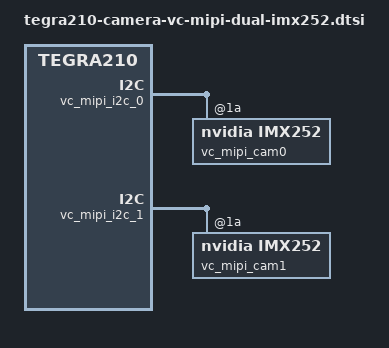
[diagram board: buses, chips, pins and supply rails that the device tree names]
/*
 * Copyright (c) 2018-2019, NVIDIA CORPORATION.  All rights reserved.
 *
 * This program is free software; you can redistribute it and/or modify
 * it under the terms of the GNU General Public License as published by
 * the Free Software Foundation; either version 2 of the License, or
 * (at your option) any later version.
 *
 * This program is distributed in the hope that it will be useful, but WITHOUT
 * ANY WARRANTY; without even the implied warranty of MERCHANTABILITY or
 * FITNESS FOR A PARTICULAR PURPOSE.  See the GNU General Public License for
 * more details.
 *
 * You should have received a copy of the GNU General Public License
 * along with this program.  If not, see <http://www.gnu.org/licenses/>.
 */

#define VC_MIPI_LANES 4
 
#include "tegra210-camera-vc-mipi-dual-common.dtsi"
 
/ {
    host1x {
         vc_mipi_i2c_0: i2c@546c0000 {
            vc_mipi_cam0: vc_mipi@1a {
                compatible = "nvidia,imx252";              
                physical_w = "7.066";
                physical_h = "5.299"; 
                sensor_model = "imx252";
                flash-output = "0";
 
                mode0 { 
                    active_w                 = "2048";
                    active_h                 = "1536";
                    line_length              = "2048";
                    pixel_t                  = "bayer_rggb10";
                     
                    gain_factor              = "1";
                    min_gain_val             = "0";
                    max_gain_val             = "1957";
                    step_gain_val            = "1";
                    default_gain             = "16";

                    exposure_factor          = "1";
                    min_exp_time             = "160";
                    max_exp_time             = "10000000";
                    step_exp_time            = "1";
                    default_exp_time         = "10000";

                    framerate_factor         = "1";
                    min_framerate            = "10";
                    max_framerate            = "60";
                    step_framerate           = "1";
                    default_framerate        = "60";
                };
            };
        };

        vc_mipi_i2c_1: i2c@7000c000 {
            vc_mipi_cam1: vc_mipi@1a {
                compatible = "nvidia,imx252";
                physical_w = "7.066";
                physical_h = "5.299";
                sensor_model = "imx252";
                flash-output = "0";
                
                mode0 { 
                    active_w                 = "2048";
                    active_h                 = "1536";
                    line_length              = "2048";
                    pixel_t                  = "bayer_rggb10";
                     
                    gain_factor              = "1";
                    min_gain_val             = "0";
                    max_gain_val             = "1957";
                    step_gain_val            = "1";
                    default_gain             = "16";

                    exposure_factor          = "1";
                    min_exp_time             = "160";
                    max_exp_time             = "10000000";
                    step_exp_time            = "1";
                    default_exp_time         = "10000";

                    framerate_factor         = "1";
                    min_framerate            = "10";
                    max_framerate            = "60";
                    step_framerate           = "1";
                    default_framerate        = "60";
                };
            };
        };
    };
};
